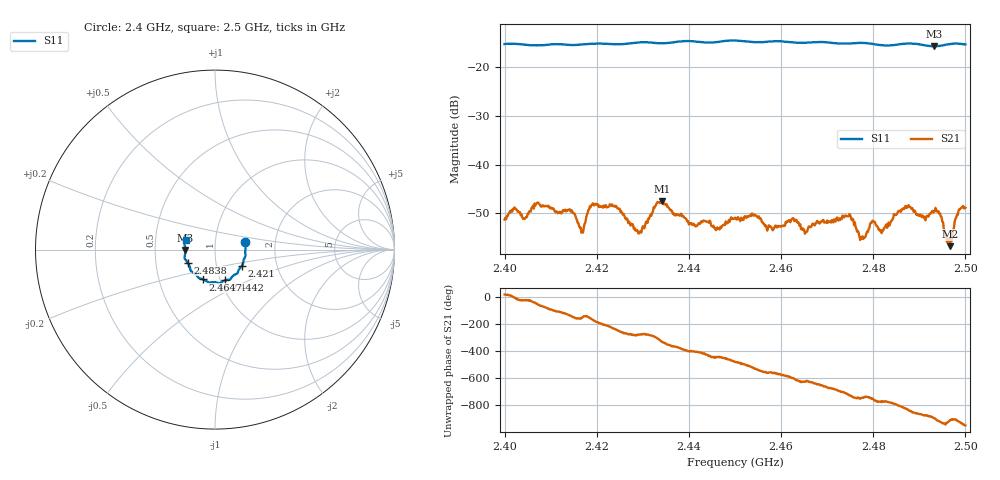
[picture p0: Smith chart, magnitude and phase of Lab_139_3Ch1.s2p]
# Hz S RI R 50
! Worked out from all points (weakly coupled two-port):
!   601 points, 2.4 GHz to 2.5 GHz, reference 50 ohm
!   highest |S21| = -47.43 dB at 2.4342 GHz (marker M1); lowest = -56.7 dB at 2.4967 GHz (marker M2)
!   lowest |S11| = -15.7 dB at 2.4932 GHz (marker M3), VSWR 1.39, Z = 35.8 - j0.131 ohm
!   |S11| at or under -10 dB: start of sweep to end of sweep
!   S12 and S22 are empty: the file has one direction only
!   S11 on the Smith chart (normalised r, x): 2.4 GHz: 1.40, +0.12; 2.421 GHz: 1.33, -0.24; 2.4442 GHz: 1.05, -0.37; 2.4647 GHz: 0.83, -0.28; 2.4838 GHz: 0.73, -0.11; 2.5 GHz: 0.71, +0.08
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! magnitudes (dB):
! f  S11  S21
! 2.4 GHz  -15.2  -51.3
! 2.407 GHz  -15.5  -47.9
! 2.4143 GHz  -15.4  -49.7
! 2.4167 GHz  -15.3  -54.0
! 2.4187 GHz  -15.1  -48.7
! 2.421 GHz  -15.1  -48.6
! 2.4292 GHz  -14.9  -54.1
! 2.4333 GHz  -15.0  -47.7
! 2.4342 GHz  -15.0  -47.4
! 2.4442 GHz  -14.9  -51.7
! 2.45 GHz  -14.5  -50.9
! 2.4647 GHz  -14.9  -53.1
! 2.4667 GHz  -14.8  -52.5
! 2.4745 GHz  -15.1  -50.5
! 2.4777 GHz  -14.9  -54.7
! 2.4798 GHz  -15.2  -51.5
! 2.4833 GHz  -15.5  -51.9
! 2.4838 GHz  -15.5  -51.6
! 2.4873 GHz  -15.1  -48.5
! 2.4932 GHz  -15.7  -49.6
! 2.4967 GHz  -15.2  -56.7
! 2.5 GHz  -15.3  -48.9
